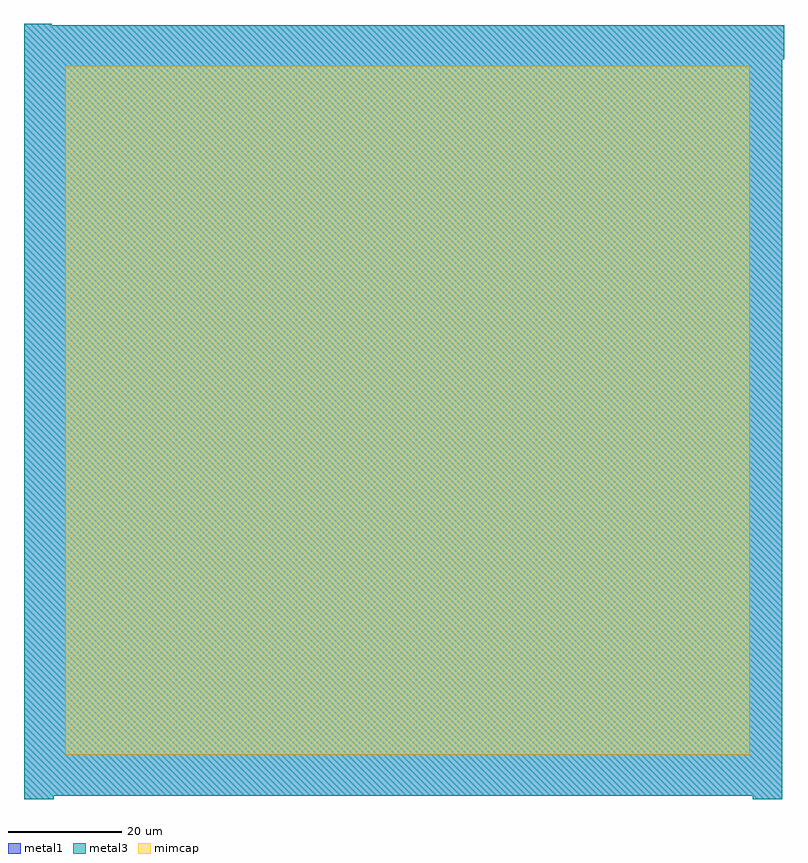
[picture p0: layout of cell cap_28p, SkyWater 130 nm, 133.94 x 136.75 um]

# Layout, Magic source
magic
tech sky130A
<< metal1 >>
rect -984 12417 -496 12449
rect -984 11818 12410 12417
rect -984 -1163 12375 11818
rect -984 -1226 -464 -1163
rect 11855 -1226 12375 -1163
<< metal3 >>
rect -984 12417 -496 12449
rect -984 11818 12410 12417
rect -984 -1163 12375 11818
rect -984 -1226 -464 -1163
rect 11855 -1226 12375 -1163
<< mimcap >>
rect -260 -442 11803 11706
<< end >>
